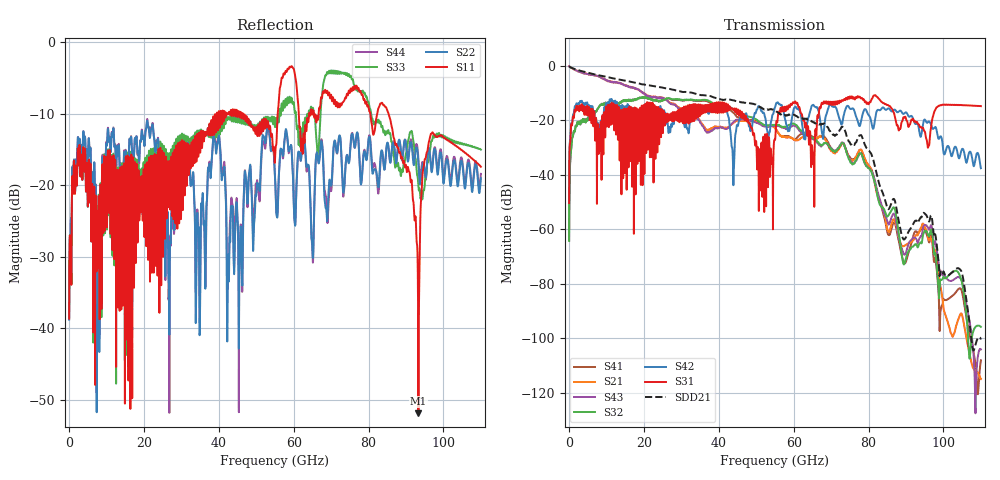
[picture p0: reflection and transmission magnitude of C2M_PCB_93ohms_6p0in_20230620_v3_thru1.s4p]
! Info: Touchstone file created by Circ.  Input file=C2M_PCB_93ohms_6p0in_20230620_v3.circ
# Hz S RI R 50
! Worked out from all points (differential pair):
!   11000 points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, 10 MHz to 110 GHz, reference 50 ohm
!   strongest paths, dB at 10 MHz, 27.51 GHz, 55.01 GHz, 82.51 GHz, 110 GHz:
!     S31: -50.4, -20.3, -27.2, -11.8, -14.8
!     S42: -50.2, -22.1, -15.2, -16.1, -37.6
!     S32: -64.2, -12.2, -21.6, -48.6, -95.9
!     S43: -0.1, -14.1, -22.0, -46.7, -104.2
!     S21: -0.1, -13.8, -22.6, -48.5, -115.0
!     S41: -64.2, -12.4, -22.7, -47.5, -108.2
!   taken as a pair (ports 3,1 in; 4,2 out), SDD21 dB: -0.1, -8.7, -16.3, -41.8, -100.5
!   lowest |S11| = -51.8 dB at 93.31 GHz (marker M1), VSWR 1.01, Z = 50.2 - j0.0879 ohm
!   |S11| at or under -10 dB: start of sweep to 39.47 GHz; 46.38 GHz to 55.73 GHz (9.349 GHz wide, 18.3 % of centre); 85.31 GHz to end of sweep (the widest 3 of 21)
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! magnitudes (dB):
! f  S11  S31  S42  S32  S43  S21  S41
! 10 MHz  -38.6  -50.4  -50.2  -64.2  -0.1  -0.1  -64.2
! 8.37 GHz  -20.2  -23.1  -21.4  -14.3  -4.2  -4.2  -14.3
! 36.37 GHz  -12.9  -16.6  -16.2  -12.5  -23.8  -23.1  -12.8
! 54.08 GHz  -13.0  -35.8  -19.9  -21.6  -22.1  -22.0  -22.1
! 73.1 GHz  -8.5  -12.8  -20.2  -28.4  -28.2  -28.6  -28.3
! 93.31 GHz  -51.8  -21.5  -22.1  -66.2  -64.5  -61.7  -61.4
! 110 GHz  -17.4  -14.8  -37.6  -95.9  -104.2  -115.0  -108.2
